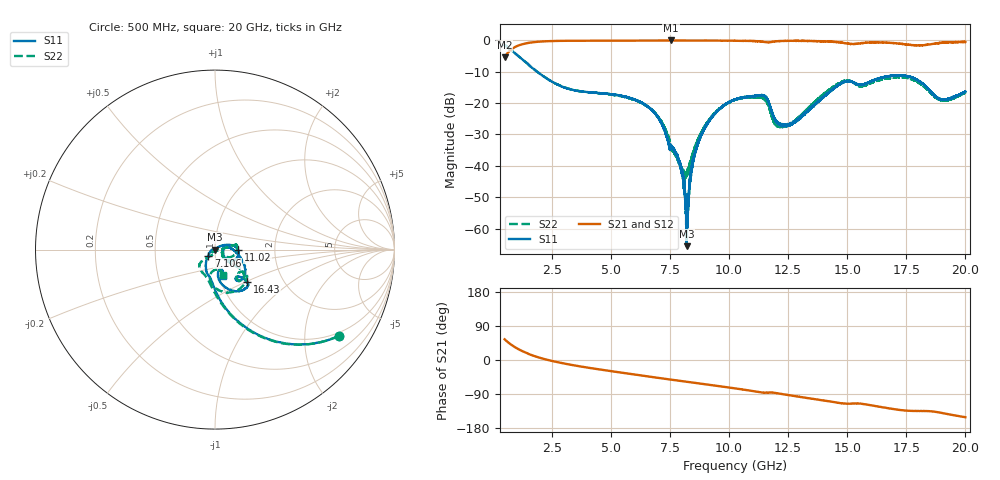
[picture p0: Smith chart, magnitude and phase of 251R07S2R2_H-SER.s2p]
!{201R07S2R2}
!Johanson Technology Inc.
!www.johansontechnology.com
!Test Board Conditions:
!Substrate Type  RO4350B
!Substrate Thickness  10 mil
!Substrate Dk  3.66
!TL Type: GCPW
!TL Trace Width  21 mil
!TL Gap  20 mil
!Electrode orientation  Horizontal
!DUT TOPOLOGY	SERIES
!Mounting Pad LxW  16x21 mil
!Agilent Technologies,N5230A,MY45001966,A.07.50.67
!Agilent N5230A: A.07.50.67
! Created Mon Mar  9 16:27:02 2020
# mhz S ma R 50
! 2 Port Network Data from SP1.SP block
! freq  magS11  angS11  magS21  angS21  magS12  angS12  magS22  angS22
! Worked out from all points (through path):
!   19501 points, 500 MHz to 20 GHz, reference 50 ohm
!   highest |S21| = -0.06 dB at 7.543 GHz (marker M1); lowest = -5.4 dB at 500 MHz (marker M2)
!   group delay of S21, straight-line fit = 24.5 ps
!   lowest |S11| = -65.6 dB at 8.202 GHz (marker M3), VSWR 1.00, Z = 50 + j0.0402 ohm
!   |S11| at or under -10 dB: 1.872 GHz to end of sweep
!   |S22| runs from -44.2 to -1.5 dB; largest |S21 - S12| = 0.016
!   S11 on the Smith chart (normalised r, x): 500 MHz: 0.89, -2.93; 7.106 GHz: 0.92, -0.06; 11.02 GHz: 1.29, -0.01; 16.43 GHz: 1.32, -0.50; 20 GHz: 1.05, -0.31
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500  0.8403 -34.9  0.5357 54.6  0.5363 54.6  0.8401 -35.0
1636  0.3715 -76.3  0.9231 13.1  0.9235 13.1  0.3729 -76.7
3750  0.1534 -101.6  0.9823 -17.5  0.9834 -17.5  0.1529 -111.7
5896  0.1172 -115.3  0.9848 -37.3  0.9866 -37.4  0.1156 -136.7
7000  0.05893 -135.3  0.9908 -47.1  0.9908 -47.1  0.06028 -133.6
7106  0.05055 -139.1  0.9904 -48.0  0.9906 -48.0  0.05308 -130.5
7543  0.02106 -136.6  0.9928 -51.8  0.9912 -51.8  0.01905 -138.4
7947  0.01037 -143.8  0.9916 -55.2  0.9915 -55.3  0.01034 -117.3
8202  0.0005271 130.2  0.9915 -57.4  0.9916 -57.4  0.007275 -59.3
8490  0.01325 44.1  0.9898 -59.9  0.9906 -59.8  0.01701 -9.5
8839  0.03185 33.2  0.9898 -62.8  0.9889 -62.8  0.03456 2.3
10250  0.1144 9.4  0.9806 -74.9  0.9828 -74.9  0.1125 13.3
11017  0.1281 -1.9  0.9719 -82.0  0.974 -81.9  0.1251 9.5
11541  0.127 -25.9  0.9304 -86.3  0.932 -86.3  0.1117 -15.9
12199  0.04544 -13.7  0.9727 -89.5  0.9763 -89.6  0.04252 -18.0
13500  0.08688 5.8  0.9749 -102.2  0.971 -102.2  0.09258 -42.0
14827  0.214 -38.3  0.9082 -114.7  0.9043 -114.6  0.2222 -43.4
16425  0.2522 -45.1  0.9252 -123.9  0.9151 -124.0  0.2349 -40.4
16750  0.2671 -46.5  0.9163 -127.2  0.907 -127.5  0.2501 -47.0
17772  0.2529 -65.4  0.8372 -134.2  0.8321 -134.3  0.2354 -81.0
18987  0.114 -76.9  0.9092 -139.5  0.9112 -139.4  0.1117 -87.9
20000  0.1521 -73.0  0.9385 -151.0  0.9395 -151.0  0.1482 -72.2
